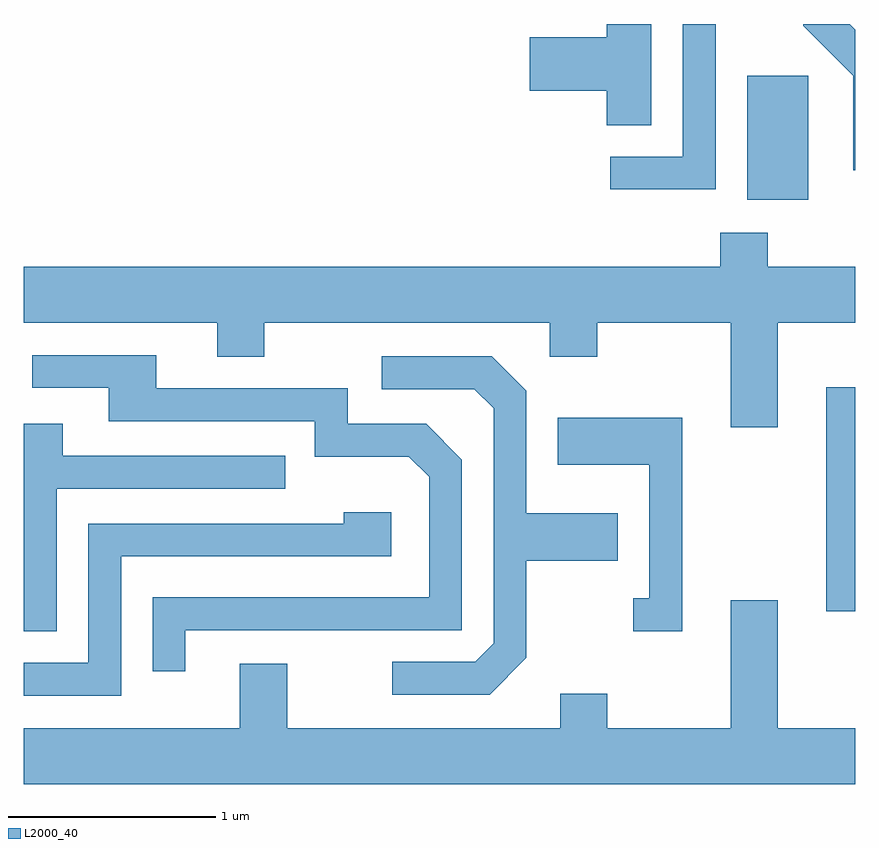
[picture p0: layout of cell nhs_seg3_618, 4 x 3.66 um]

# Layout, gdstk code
import gdstk
lib = gdstk.Library(unit=1e-6, precision=1e-09)
def R(c, l, rs):  # rectangles x0, y0, x1, y1
    for r in rs: c.add(gdstk.rectangle(r[:2], r[2:], *l))
def P(c, l, *ps):  # polygons
    for p in ps: c.add(gdstk.Polygon(p, *l))
L2000_40 = (2000, 40)

nhs_seg3_618 = lib.new_cell('nhs_seg3_618')
R(nhs_seg3_618, L2000_40, [(207.471,1129.066,207.611,1130.144), (207.091,1131.046,207.384,1131.644)])
P(nhs_seg3_618, L2000_40, [(206.629,1131.892),(206.416,1131.892),(206.416,1131.829),(206.046,1131.829),(206.046,1131.571),(206.416,1131.571),(206.416,1131.406),(206.629,1131.406)],
  [(206.939,1131.892),(206.781,1131.892),(206.781,1131.254),(206.433,1131.254),(206.433,1131.096),(206.939,1131.096)],
  [(207.611,1131.865),(207.584,1131.892),(207.361,1131.892),(207.361,1131.884),(207.601,1131.644),(207.601,1131.188),(207.611,1131.188)],
  [(207.239,1130.456),(207.611,1130.456),(207.611,1130.724),(207.189,1130.724),(207.189,1130.889),(206.961,1130.889),(206.961,1130.724),(203.611,1130.724),(203.611,1130.456),(204.541,1130.456),(204.541,1130.291),(204.769,1130.291),(204.769,1130.456),(206.141,1130.456),(206.141,1130.291),(206.369,1130.291),(206.369,1130.456),(207.011,1130.456),(207.011,1129.951),(207.239,1129.951)],
  [(204.389,1128.976),(205.719,1128.976),(205.719,1129.797),(205.547,1129.969),(205.169,1129.969),(205.169,1130.139),(204.249,1130.139),(204.249,1130.299),(203.653,1130.299),(203.653,1130.141),(204.021,1130.141),(204.021,1129.981),(205.011,1129.981),(205.011,1129.811),(205.464,1129.811),(205.561,1129.714),(205.561,1129.134),(204.231,1129.134),(204.231,1128.778),(204.389,1128.778)],
  [(206.029,1128.844),(206.029,1129.311),(206.469,1129.311),(206.469,1129.539),(206.029,1129.539),(206.029,1130.127),(205.862,1130.294),(205.333,1130.294),(205.333,1130.136),(205.779,1130.136),(205.871,1130.044),(205.871,1128.912),(205.784,1128.824),(205.383,1128.824),(205.383,1128.666),(205.852,1128.666)],
  [(206.779,1129.999),(206.181,1129.999),(206.181,1129.771),(206.621,1129.771),(206.621,1129.129),(206.543,1129.129),(206.543,1128.971),(206.779,1128.971)],
  [(203.769,1129.656),(204.868,1129.656),(204.868,1129.814),(203.799,1129.814),(203.799,1129.969),(203.611,1129.969),(203.611,1128.971),(203.769,1128.971)],
  [(204.079,1129.331),(205.379,1129.331),(205.379,1129.544),(205.151,1129.544),(205.151,1129.489),(203.921,1129.489),(203.921,1128.819),(203.611,1128.819),(203.611,1128.661),(204.079,1128.661)],
  [(207.611,1128.504),(207.239,1128.504),(207.239,1129.119),(207.011,1129.119),(207.011,1128.504),(206.419,1128.504),(206.419,1128.669),(206.191,1128.669),(206.191,1128.504),(204.879,1128.504),(204.879,1128.814),(204.651,1128.814),(204.651,1128.504),(203.611,1128.504),(203.611,1128.236),(207.611,1128.236)])

lib.write_gds('nhs_seg3_618.gds')
